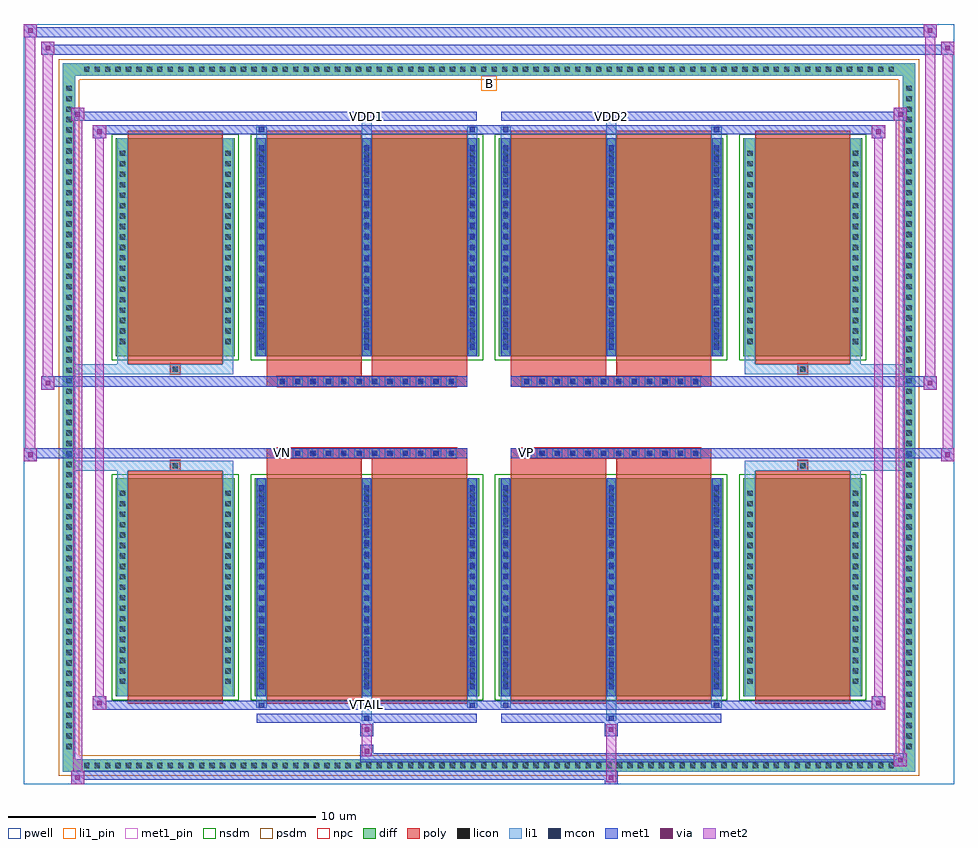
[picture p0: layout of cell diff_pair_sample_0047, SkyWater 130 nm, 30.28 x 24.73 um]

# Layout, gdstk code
import gdstk
lib = gdstk.Library(unit=1e-6, precision=5e-09)
def R(c, l, rs):  # rectangles x0, y0, x1, y1
    for r in rs: c.add(gdstk.rectangle(r[:2], r[2:], *l))
def A(c, l, x, y, w, h, nx, ny, dx, dy):  # array of equal rectangles
    R(c, l, [(x+i*dx, y+j*dy, x+i*dx+w, y+j*dy+h) for i in range(nx) for j in range(ny)])
def P(c, l, *ps):  # polygons
    for p in ps: c.add(gdstk.Polygon(p, *l))
pwell = (64, 44)
diff = (65, 20)
poly = (66, 20)
licon = (66, 44)
li1_pin = (67, 16)
li1 = (67, 20)
mcon = (67, 44)
met1_pin = (68, 16)
met1 = (68, 20)
via = (68, 44)
met2 = (69, 20)
nsdm = (93, 44)
psdm = (94, 20)
npc = (95, 20)

diff_pair_sample_0047 = lib.new_cell('diff_pair_sample_0047')
R(diff_pair_sample_0047, pwell, [(-15.14,-11.93,15.14,12.8), (-12.46,-10.12,-0.01,-0.8), (0.01,-10.12,12.46,-0.8), (-12.46,0.8,-0.01,10.12), (0.01,0.8,12.46,10.12)])
A(diff_pair_sample_0047, diff, -13.295, -11.53, 0.41, 0.41, 78, 2, 0.34, 22.65)
A(diff_pair_sample_0047, diff, -13.87, -10.915, 0.41, 0.41, 1, 64, 0, 0.34)
A(diff_pair_sample_0047, diff, 13.46, -10.915, 0.41, 0.41, 1, 64, 0, 0.34)
R(diff_pair_sample_0047, diff, [(-13.295,-11.53,13.295,-11.12), (-13.87,-10.915,-13.46,10.915), (13.46,-10.915,13.87,10.915), (-12.15,-9.075,-8.27,-1.985), (-7.63,-9.075,-0.32,-1.985), (0.32,-9.075,7.63,-1.985), (8.27,-9.075,12.15,-1.985), (-12.15,1.985,-8.27,9.075), (-7.63,1.985,-0.32,9.075), (0.32,1.985,7.63,9.075), (8.27,1.985,12.15,9.075), (-13.295,11.12,13.295,11.53)])
P(diff_pair_sample_0047, diff, [(13.87,11.53),(-13.87,11.53),(-13.87,-11.12),(-13.46,-11.12),(-13.46,11.12),(13.46,11.12),(13.46,-11.12),(-13.46,-11.12),(-13.87,-11.12),(-13.87,-11.53),(13.87,-11.53)])
A(diff_pair_sample_0047, poly, -6.89, -1.33, 0.33, 0.33, 12, 2, 0.5, 2.33)
A(diff_pair_sample_0047, poly, 1.06, -1.33, 0.33, 0.33, 12, 2, 0.5, 2.33)
R(diff_pair_sample_0047, poly, [(-11.76,-9.325,-8.66,-1.735), (-7.24,-9.325,-4.14,-1.735), (-3.81,-9.325,-0.71,-1.735), (0.71,-9.325,3.81,-1.735), (4.14,-9.325,7.24,-1.735), (8.66,-9.325,11.76,-1.735), (-10.375,-1.735,-10.045,-1.405), (-10.375,-1.735,-10.045,-1.405), (-7.24,-1.735,-4.14,-1.33), (-3.81,-1.735,-0.71,-1.33), (0.71,-1.735,3.81,-1.33), (4.14,-1.735,7.24,-1.33), (10.045,-1.735,10.375,-1.405), (10.045,-1.735,10.375,-1.405), (-7.24,-1.33,-0.71,-1), (0.71,-1.33,7.24,-1), (-7.24,1,-0.71,1.33), (0.71,1,7.24,1.33), (-7.24,1.33,-4.14,1.735), (-3.81,1.33,-0.71,1.735), (0.71,1.33,3.81,1.735), (4.14,1.33,7.24,1.735), (-10.375,1.405,-10.045,1.735), (-10.375,1.405,-10.045,1.735), (10.045,1.405,10.375,1.735), (10.045,1.405,10.375,1.735), (-11.76,1.735,-8.66,9.325), (-7.24,1.735,-4.14,9.325), (-3.81,1.735,-0.71,9.325), (0.71,1.735,3.81,9.325), (4.14,1.735,7.24,9.325), (8.66,1.735,11.76,9.325)])
A(diff_pair_sample_0047, licon, -13.175, -11.41, 0.17, 0.17, 78, 2, 0.34, 22.65)
A(diff_pair_sample_0047, licon, -13.75, -10.795, 0.17, 0.17, 1, 64, 0, 0.34)
A(diff_pair_sample_0047, licon, 13.58, -10.795, 0.17, 0.17, 1, 64, 0, 0.34)
A(diff_pair_sample_0047, licon, -12.01, -8.675, 0.17, 0.17, 1, 19, 0, 0.34)
A(diff_pair_sample_0047, licon, -8.58, -8.675, 0.17, 0.17, 1, 19, 0, 0.34)
A(diff_pair_sample_0047, licon, -7.49, -8.675, 0.17, 0.17, 3, 19, 3.43, 0.34)
A(diff_pair_sample_0047, licon, 0.46, -8.675, 0.17, 0.17, 3, 19, 3.43, 0.34)
A(diff_pair_sample_0047, licon, 8.41, -8.675, 0.17, 0.17, 1, 19, 0, 0.34)
A(diff_pair_sample_0047, licon, 11.84, -8.675, 0.17, 0.17, 1, 19, 0, 0.34)
A(diff_pair_sample_0047, licon, -6.81, -1.25, 0.17, 0.17, 12, 2, 0.5, 2.33)
A(diff_pair_sample_0047, licon, 1.14, -1.25, 0.17, 0.17, 12, 2, 0.5, 2.33)
A(diff_pair_sample_0047, licon, -12.01, 2.385, 0.17, 0.17, 1, 19, 0, 0.34)
A(diff_pair_sample_0047, licon, -8.58, 2.385, 0.17, 0.17, 1, 19, 0, 0.34)
A(diff_pair_sample_0047, licon, -7.49, 2.385, 0.17, 0.17, 3, 19, 3.43, 0.34)
A(diff_pair_sample_0047, licon, 0.46, 2.385, 0.17, 0.17, 3, 19, 3.43, 0.34)
A(diff_pair_sample_0047, licon, 8.41, 2.385, 0.17, 0.17, 1, 19, 0, 0.34)
A(diff_pair_sample_0047, licon, 11.84, 2.385, 0.17, 0.17, 1, 19, 0, 0.34)
R(diff_pair_sample_0047, licon, [(-10.295,-1.655,-10.125,-1.485), (10.125,-1.655,10.295,-1.485), (-10.295,1.485,-10.125,1.655), (10.125,1.485,10.295,1.655)])
R(diff_pair_sample_0047, li1_pin, [(-0.25,10.62,0.25,11.12)])
A(diff_pair_sample_0047, li1, -13.255, -11.49, 0.33, 0.33, 78, 2, 0.34, 22.65)
A(diff_pair_sample_0047, li1, -13.83, -10.875, 0.33, 0.33, 1, 64, 0, 0.34)
A(diff_pair_sample_0047, li1, 13.5, -10.875, 0.33, 0.33, 1, 64, 0, 0.34)
A(diff_pair_sample_0047, li1, -7.57, -9.075, 0.33, 7.09, 3, 2, 3.43, 11.06)
A(diff_pair_sample_0047, li1, 0.38, -9.075, 0.33, 7.09, 3, 2, 3.43, 11.06)
A(diff_pair_sample_0047, li1, -7.49, -8.855, 0.17, 0.17, 3, 19, 3.43, 0.36)
A(diff_pair_sample_0047, li1, -7.49, -8.855, 0.17, 6.65, 3, 2, 3.43, 11.06)
A(diff_pair_sample_0047, li1, 0.46, -8.855, 0.17, 0.17, 3, 19, 3.43, 0.36)
A(diff_pair_sample_0047, li1, 0.46, -8.855, 0.17, 6.65, 3, 2, 3.43, 11.06)
A(diff_pair_sample_0047, li1, -12.09, -8.755, 0.33, 0.33, 1, 19, 0, 0.34)
A(diff_pair_sample_0047, li1, -8.66, -8.755, 0.33, 0.33, 1, 19, 0, 0.34)
A(diff_pair_sample_0047, li1, -7.57, -8.755, 0.33, 0.33, 3, 19, 3.43, 0.34)
A(diff_pair_sample_0047, li1, 0.38, -8.755, 0.33, 0.33, 3, 19, 3.43, 0.34)
A(diff_pair_sample_0047, li1, 8.33, -8.755, 0.33, 0.33, 1, 19, 0, 0.34)
A(diff_pair_sample_0047, li1, 11.76, -8.755, 0.33, 0.33, 1, 19, 0, 0.34)
A(diff_pair_sample_0047, li1, -6.89, -1.33, 0.33, 0.33, 12, 2, 0.5, 2.33)
A(diff_pair_sample_0047, li1, 1.06, -1.33, 0.33, 0.33, 12, 2, 0.5, 2.33)
A(diff_pair_sample_0047, li1, -7.49, 2.205, 0.17, 0.17, 3, 19, 3.43, 0.36)
A(diff_pair_sample_0047, li1, 0.46, 2.205, 0.17, 0.17, 3, 19, 3.43, 0.36)
A(diff_pair_sample_0047, li1, -12.09, 2.305, 0.33, 0.33, 1, 19, 0, 0.34)
A(diff_pair_sample_0047, li1, -8.66, 2.305, 0.33, 0.33, 1, 19, 0, 0.34)
A(diff_pair_sample_0047, li1, -7.57, 2.305, 0.33, 0.33, 3, 19, 3.43, 0.34)
A(diff_pair_sample_0047, li1, 0.38, 2.305, 0.33, 0.33, 3, 19, 3.43, 0.34)
A(diff_pair_sample_0047, li1, 8.33, 2.305, 0.33, 0.33, 1, 19, 0, 0.34)
A(diff_pair_sample_0047, li1, 11.76, 2.305, 0.33, 0.33, 1, 19, 0, 0.34)
R(diff_pair_sample_0047, li1, [(-13.87,-11.53,-13.46,-11.12), (-13.87,-11.53,-13.46,-11.12), (-13.46,-11.53,13.46,-11.12), (13.46,-11.53,13.87,-11.12), (13.46,-11.53,13.87,-11.12), (-13.87,-11.12,-13.46,11.12), (13.46,-11.12,13.87,11.12), (-4.14,-9.88,-3.81,-9.075), (-4.06,-9.88,-3.89,-9.71), (3.81,-9.88,4.14,-9.075), (3.89,-9.88,4.06,-9.71), (-7.57,-9.45,-7.24,-9.075), (-7.49,-9.45,-7.32,-9.28), (-0.71,-9.45,-0.38,-9.075), (-0.63,-9.45,-0.46,-9.28), (0.38,-9.45,0.71,-9.075), (0.46,-9.45,0.63,-9.28), (7.24,-9.45,7.57,-9.075), (7.32,-9.45,7.49,-9.28), (-12.09,-9.075,-11.76,-1.985), (-8.66,-9.075,-8.33,-1.985), (8.33,-9.075,8.66,-1.985), (11.76,-9.075,12.09,-1.985), (-12.09,-1.985,-11.76,-1.405), (-8.66,-1.985,-8.33,-1.405), (8.33,-1.985,8.66,-1.405), (11.76,-1.985,12.09,-1.405), (-13.87,-1.735,-10.375,-1.405), (-12.09,-1.735,-10.375,-1.405), (-10.375,-1.735,-10.045,-1.405), (-10.045,-1.735,-8.33,-1.405), (8.33,-1.735,10.045,-1.405), (10.045,-1.735,10.375,-1.405), (10.045,-1.735,13.87,-1.405), (10.375,-1.735,12.09,-1.405), (-13.87,1.405,-10.375,1.735), (-12.09,1.405,-10.375,1.735), (-12.09,1.405,-11.76,1.985), (-10.375,1.405,-10.045,1.735), (-10.045,1.405,-8.33,1.735), (-8.66,1.405,-8.33,1.985), (8.33,1.405,10.045,1.735), (8.33,1.405,8.66,1.985), (10.045,1.405,10.375,1.735), (10.045,1.405,13.87,1.735), (10.375,1.405,12.09,1.735), (11.76,1.405,12.09,1.985), (-12.09,1.985,-11.76,9.075), (-8.66,1.985,-8.33,9.075), (8.33,1.985,8.66,9.075), (11.76,1.985,12.09,9.075), (-7.57,9.075,-7.24,9.45), (-4.14,9.075,-3.81,9.88), (-0.71,9.075,-0.38,9.45), (0.38,9.075,0.71,9.45), (3.81,9.075,4.14,9.88), (7.24,9.075,7.57,9.45), (-7.49,9.28,-7.32,9.45), (-0.63,9.28,-0.46,9.45), (0.46,9.28,0.63,9.45), (7.32,9.28,7.49,9.45), (-4.06,9.71,-3.89,9.88), (3.89,9.71,4.06,9.88), (-13.87,11.12,-13.46,11.53), (-13.87,11.12,-13.46,11.53), (-13.46,11.12,13.46,11.53), (13.46,11.12,13.87,11.53), (13.46,11.12,13.87,11.53)])
A(diff_pair_sample_0047, mcon, -7.49, -8.855, 0.17, 0.17, 3, 19, 3.43, 0.36)
A(diff_pair_sample_0047, mcon, 0.46, -8.855, 0.17, 0.17, 3, 19, 3.43, 0.36)
A(diff_pair_sample_0047, mcon, -6.81, -1.25, 0.17, 0.17, 12, 2, 0.5, 2.33)
A(diff_pair_sample_0047, mcon, 1.14, -1.25, 0.17, 0.17, 12, 2, 0.5, 2.33)
A(diff_pair_sample_0047, mcon, -7.49, 2.205, 0.17, 0.17, 3, 19, 3.43, 0.36)
A(diff_pair_sample_0047, mcon, 0.46, 2.205, 0.17, 0.17, 3, 19, 3.43, 0.36)
R(diff_pair_sample_0047, mcon, [(-4.06,-9.88,-3.89,-9.71), (3.89,-9.88,4.06,-9.71), (-7.49,-9.45,-7.32,-9.28), (-0.63,-9.45,-0.46,-9.28), (0.46,-9.45,0.63,-9.28), (7.32,-9.45,7.49,-9.28), (-7.49,9.28,-7.32,9.45), (-0.63,9.28,-0.46,9.45), (0.46,9.28,0.63,9.45), (7.32,9.28,7.49,9.45), (-4.06,9.71,-3.89,9.88), (3.89,9.71,4.06,9.88)])
R(diff_pair_sample_0047, met1_pin, [(-4.11,-9.49,-3.84,-9.22), (-6.86,-1.29,-6.59,-1.02), (1.09,-1.29,1.36,-1.02), (-4.11,9.67,-3.84,9.94), (3.84,9.67,4.11,9.94)])
A(diff_pair_sample_0047, met1, -7.55, -9.075, 0.29, 7.09, 3, 2, 3.43, 11.06)
A(diff_pair_sample_0047, met1, 0.4, -9.075, 0.29, 7.09, 3, 2, 3.43, 11.06)
A(diff_pair_sample_0047, met1, -7.55, -8.915, 0.29, 0.29, 3, 19, 3.43, 0.36)
A(diff_pair_sample_0047, met1, 0.4, -8.915, 0.29, 0.29, 3, 19, 3.43, 0.36)
A(diff_pair_sample_0047, met1, -6.87, -1.31, 0.29, 0.29, 12, 2, 0.5, 2.33)
A(diff_pair_sample_0047, met1, 1.08, -1.31, 0.29, 0.29, 12, 2, 0.5, 2.33)
A(diff_pair_sample_0047, met1, -7.55, 2.145, 0.29, 0.29, 3, 19, 3.43, 0.36)
A(diff_pair_sample_0047, met1, 0.4, 2.145, 0.29, 0.29, 3, 19, 3.43, 0.36)
R(diff_pair_sample_0047, met1, [(-13.6,-11.93,-13.17,-11.5), (3.76,-11.93,4.19,-11.5), (-13.6,-11.79,4.19,-11.5), (13.17,-11.36,13.6,-10.93), (-4.19,-11.22,13.6,-10.93), (-4.19,-11.08,-3.76,-10.65), (-4.19,-10.37,-3.76,-9.94), (3.76,-10.37,4.19,-9.94), (-7.55,-9.94,-0.4,-9.65), (-4.12,-9.94,-3.83,-9.65), (0.4,-9.94,7.55,-9.65), (3.83,-9.94,4.12,-9.65), (-12.89,-9.51,-12.46,-9.08), (-12.89,-9.51,-7.55,-9.22), (-7.55,-9.51,-7.26,-9.22), (-7.55,-9.51,-0.4,-9.22), (-0.69,-9.51,-0.4,-9.22), (-0.4,-9.51,0.4,-9.22), (0.4,-9.51,0.69,-9.22), (0.4,-9.51,7.55,-9.22), (7.26,-9.51,7.55,-9.22), (7.55,-9.51,12.89,-9.22), (12.46,-9.51,12.89,-9.08), (-15.14,-1.43,-14.71,-1), (14.71,-1.43,15.14,-1), (-15.14,-1.33,-0.71,-1), (-7.24,-1.33,-0.71,-1), (0.71,-1.33,7.24,-1), (0.71,-1.33,15.14,-1), (-14.57,0.9,-14.14,1.33), (14.14,0.9,14.57,1.33), (-14.57,1,-7.24,1.33), (-7.24,1,-0.71,1.33), (0.71,1,7.24,1.33), (7.24,1,14.57,1.33), (-12.89,9.08,-12.46,9.51), (12.46,9.08,12.89,9.51), (-12.89,9.22,-7.55,9.51), (-7.55,9.22,-7.26,9.51), (-7.55,9.22,-0.4,9.51), (-0.69,9.22,-0.4,9.51), (-0.4,9.22,0.4,9.51), (0.4,9.22,0.69,9.51), (0.4,9.22,7.55,9.51), (7.26,9.22,7.55,9.51), (7.55,9.22,12.89,9.51), (-13.6,9.65,-13.17,10.08), (-13.6,9.65,-7.55,9.94), (-7.55,9.65,-0.4,9.94), (-4.12,9.65,-3.83,9.94), (0.4,9.65,7.55,9.94), (3.83,9.65,4.12,9.94), (7.55,9.65,13.6,9.94), (13.17,9.65,13.6,10.08), (-14.57,11.8,-14.14,12.23), (-14.57,11.8,-12.46,12.13), (-12.46,11.8,12.46,12.13), (12.46,11.8,15.14,12.13), (14.71,11.8,15.14,12.23), (-15.14,12.37,-14.71,12.8), (-15.14,12.37,-12.46,12.7), (-12.46,12.37,12.46,12.7), (12.46,12.37,14.57,12.7), (14.14,12.37,14.57,12.8)])
R(diff_pair_sample_0047, via, [(-13.46,-11.79,-13.31,-11.64), (3.9,-11.79,4.05,-11.64), (13.31,-11.22,13.46,-11.07), (-4.05,-10.94,-3.9,-10.79), (-4.05,-10.23,-3.9,-10.08), (3.9,-10.23,4.05,-10.08), (-12.75,-9.37,-12.6,-9.22), (12.6,-9.37,12.75,-9.22), (-15,-1.29,-14.85,-1.14), (14.85,-1.29,15,-1.14), (-14.43,1.04,-14.28,1.19), (14.28,1.04,14.43,1.19), (-12.75,9.22,-12.6,9.37), (12.6,9.22,12.75,9.37), (-13.46,9.79,-13.31,9.94), (13.31,9.79,13.46,9.94), (-14.43,11.94,-14.28,12.09), (14.85,11.94,15,12.09), (-15,12.51,-14.85,12.66), (14.28,12.51,14.43,12.66)])
R(diff_pair_sample_0047, met2, [(-13.6,-11.93,-13.17,-11.5), (-13.53,-11.93,-13.24,10.08), (-13.24,-11.93,-13.17,-11.5), (-13.55,-11.88,-13.22,-11.55), (3.81,-11.88,4.14,-11.55), (3.81,-11.55,4.14,-10.32), (13.17,-11.36,13.6,-10.93), (13.24,-11.36,13.53,10.08), (13.53,-11.36,13.6,-10.93), (13.22,-11.31,13.55,-10.98), (-4.14,-11.03,-3.81,-10.7), (-4.14,-10.7,-3.81,-10.32), (-4.14,-10.32,-3.81,-9.99), (3.81,-10.32,4.14,-9.99), (-12.89,-9.51,-12.46,-9.08), (-12.82,-9.51,-12.53,9.51), (-12.53,-9.51,-12.46,-9.08), (12.46,-9.51,12.89,-9.08), (12.53,-9.51,12.82,9.51), (12.82,-9.51,12.89,-9.08), (-12.84,-9.46,-12.51,-9.13), (12.51,-9.46,12.84,-9.13), (-15.14,-1.43,-14.71,-1), (-15.09,-1.43,-14.76,12.8), (-14.76,-1.43,-14.71,-1), (14.71,-1.43,15.14,-1), (14.76,-1.43,15.09,12.23), (15.09,-1.43,15.14,-1), (-15.09,-1.38,-14.76,-1.05), (14.76,-1.38,15.09,-1.05), (-14.57,0.9,-14.14,1.33), (-14.52,0.9,-14.19,12.23), (-14.19,0.9,-14.14,1.33), (14.14,0.9,14.57,1.33), (14.19,0.9,14.52,12.8), (14.52,0.9,14.57,1.33), (-14.52,0.95,-14.19,1.28), (14.19,0.95,14.52,1.28), (-12.89,9.08,-12.46,9.51), (-12.53,9.08,-12.46,9.51), (12.46,9.08,12.89,9.51), (12.82,9.08,12.89,9.51), (-12.84,9.13,-12.51,9.46), (12.51,9.13,12.84,9.46), (-13.6,9.65,-13.17,10.08), (-13.24,9.65,-13.17,10.08), (13.17,9.65,13.6,10.08), (13.53,9.65,13.6,10.08), (-13.55,9.7,-13.22,10.03), (13.22,9.7,13.55,10.03), (-14.57,11.8,-14.14,12.23), (-14.19,11.8,-14.14,12.23), (14.71,11.8,15.14,12.23), (15.09,11.8,15.14,12.23), (-14.52,11.85,-14.19,12.18), (14.76,11.85,15.09,12.18), (-15.14,12.37,-14.71,12.8), (-14.76,12.37,-14.71,12.8), (14.14,12.37,14.57,12.8), (14.52,12.37,14.57,12.8), (-15.09,12.42,-14.76,12.75), (14.19,12.42,14.52,12.75)])
R(diff_pair_sample_0047, nsdm, [(-12.28,-9.205,-8.14,-1.855), (-7.76,-9.205,-0.19,-1.855), (0.19,-9.205,7.76,-1.855), (8.14,-9.205,12.28,-1.855), (-12.28,1.855,-8.14,9.205), (-7.76,1.855,-0.19,9.205), (0.19,1.855,7.76,9.205), (8.14,1.855,12.28,9.205)])
P(diff_pair_sample_0047, psdm, [(14,11.66),(-14,11.66),(-14,-10.99),(-13.33,-10.99),(-13.33,10.99),(13.33,10.99),(13.33,-10.99),(-13.33,-10.99),(-14,-10.99),(-14,-11.66),(14,-11.66)])
A(diff_pair_sample_0047, npc, -6.91, -1.35, 0.37, 0.37, 12, 2, 0.5, 2.33)
A(diff_pair_sample_0047, npc, 1.04, -1.35, 0.37, 0.37, 12, 2, 0.5, 2.33)
R(diff_pair_sample_0047, npc, [(-10.395,-1.755,-10.025,-1.385), (10.025,-1.755,10.395,-1.385), (-6.91,-1.35,-6.04,-0.98), (-6.91,-1.35,-6.04,-0.98), (-6.41,-1.35,-5.54,-0.98), (-6.41,-1.35,-5.54,-0.98), (-5.91,-1.35,-5.04,-0.98), (-5.91,-1.35,-5.04,-0.98), (-5.41,-1.35,-4.54,-0.98), (-5.41,-1.35,-4.54,-0.98), (-4.91,-1.35,-4.04,-0.98), (-4.91,-1.35,-4.04,-0.98), (-4.41,-1.35,-3.54,-0.98), (-4.41,-1.35,-3.54,-0.98), (-3.91,-1.35,-3.04,-0.98), (-3.91,-1.35,-3.04,-0.98), (-3.41,-1.35,-2.54,-0.98), (-3.41,-1.35,-2.54,-0.98), (-2.91,-1.35,-2.04,-0.98), (-2.91,-1.35,-2.04,-0.98), (-2.41,-1.35,-1.54,-0.98), (-2.41,-1.35,-1.54,-0.98), (-1.91,-1.35,-1.04,-0.98), (-1.91,-1.35,-1.04,-0.98), (1.04,-1.35,1.91,-0.98), (1.04,-1.35,1.91,-0.98), (1.54,-1.35,2.41,-0.98), (1.54,-1.35,2.41,-0.98), (2.04,-1.35,2.91,-0.98), (2.04,-1.35,2.91,-0.98), (2.54,-1.35,3.41,-0.98), (2.54,-1.35,3.41,-0.98), (3.04,-1.35,3.91,-0.98), (3.04,-1.35,3.91,-0.98), (3.54,-1.35,4.41,-0.98), (3.54,-1.35,4.41,-0.98), (4.04,-1.35,4.91,-0.98), (4.04,-1.35,4.91,-0.98), (4.54,-1.35,5.41,-0.98), (4.54,-1.35,5.41,-0.98), (5.04,-1.35,5.91,-0.98), (5.04,-1.35,5.91,-0.98), (5.54,-1.35,6.41,-0.98), (5.54,-1.35,6.41,-0.98), (6.04,-1.35,6.91,-0.98), (6.04,-1.35,6.91,-0.98), (-6.91,0.98,-6.04,1.35), (-6.91,0.98,-6.04,1.35), (-6.41,0.98,-5.54,1.35), (-6.41,0.98,-5.54,1.35), (-5.91,0.98,-5.04,1.35), (-5.91,0.98,-5.04,1.35), (-5.41,0.98,-4.54,1.35), (-5.41,0.98,-4.54,1.35), (-4.91,0.98,-4.04,1.35), (-4.91,0.98,-4.04,1.35), (-4.41,0.98,-3.54,1.35), (-4.41,0.98,-3.54,1.35), (-3.91,0.98,-3.04,1.35), (-3.91,0.98,-3.04,1.35), (-3.41,0.98,-2.54,1.35), (-3.41,0.98,-2.54,1.35), (-2.91,0.98,-2.04,1.35), (-2.91,0.98,-2.04,1.35), (-2.41,0.98,-1.54,1.35), (-2.41,0.98,-1.54,1.35), (-1.91,0.98,-1.04,1.35), (-1.91,0.98,-1.04,1.35), (1.04,0.98,1.91,1.35), (1.04,0.98,1.91,1.35), (1.54,0.98,2.41,1.35), (1.54,0.98,2.41,1.35), (2.04,0.98,2.91,1.35), (2.04,0.98,2.91,1.35), (2.54,0.98,3.41,1.35), (2.54,0.98,3.41,1.35), (3.04,0.98,3.91,1.35), (3.04,0.98,3.91,1.35), (3.54,0.98,4.41,1.35), (3.54,0.98,4.41,1.35), (4.04,0.98,4.91,1.35), (4.04,0.98,4.91,1.35), (4.54,0.98,5.41,1.35), (4.54,0.98,5.41,1.35), (5.04,0.98,5.91,1.35), (5.04,0.98,5.91,1.35), (5.54,0.98,6.41,1.35), (5.54,0.98,6.41,1.35), (6.04,0.98,6.91,1.35), (6.04,0.98,6.91,1.35), (-10.395,1.385,-10.025,1.755), (10.025,1.385,10.395,1.755)])
diff_pair_sample_0047.add(gdstk.Label('VTAIL', (-3.975,-9.355), layer=68, texttype=5))
diff_pair_sample_0047.add(gdstk.Label('VN', (-6.725,-1.155), layer=68, texttype=5))
diff_pair_sample_0047.add(gdstk.Label('VP', (1.225,-1.155), layer=68, texttype=5))
diff_pair_sample_0047.add(gdstk.Label('B', (0,10.87), layer=67, texttype=5))
diff_pair_sample_0047.add(gdstk.Label('VDD2', (3.975,9.805), layer=68, texttype=5))
diff_pair_sample_0047.add(gdstk.Label('VDD1', (-3.975,9.805), layer=68, texttype=5))

lib.write_gds('diff_pair_sample_0047.gds')
